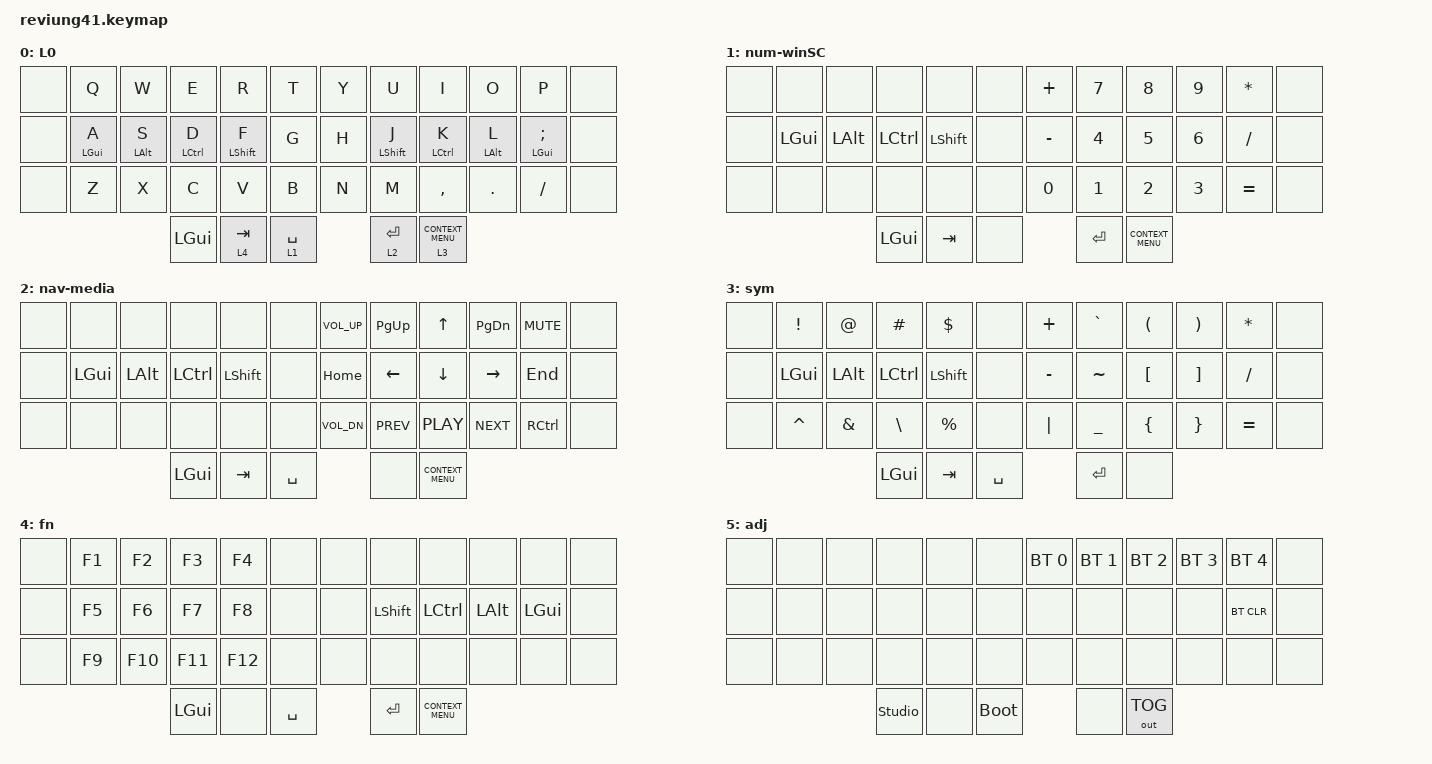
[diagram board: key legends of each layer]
#undef ZMK_BEHAVIORS_KEEP_ALL

#define ZMK_BEHAVIORS_KEEP_SK
#define ZMK_BEHAVIORS_KEEP_MT
#define ZMK_BEHAVIORS_KEEP_KT

#include <behaviors.dtsi>
#include <dt-bindings/zmk/bt.h>
#include <dt-bindings/zmk/keys.h>
#include <dt-bindings/zmk/outputs.h>

&sk {
    quick-release;
    release-after-ms = <600>;
};

/ {
    combos {
        compatible = "zmk,combos";

        shiftSK {
            bindings = <&sk LEFT_SHIFT>;
            key-positions = <37 39>;
            timeout-ms = <40>;
            require-prior-idle-ms = <100>;
            layers = <0>;
        };

        delL {
            bindings = <&kp DELETE>;
            key-positions = <4 3>;
            timeout-ms = <40>;
            require-prior-idle-ms = <100>;
            layers = <0 1 3 2>;
        };

        delR {
            bindings = <&kp DELETE>;
            key-positions = <7 8>;
            timeout-ms = <40>;
            require-prior-idle-ms = <100>;
            layers = <0 1 3 2>;
        };

        BSL {
            bindings = <&kp BACKSPACE>;
            key-positions = <15 16>;
            timeout-ms = <40>;
            require-prior-idle-ms = <100>;
            layers = <0 1 3 2>;
        };

        BSR {
            bindings = <&kp BACKSPACE>;
            key-positions = <19 20>;
            timeout-ms = <40>;
            require-prior-idle-ms = <100>;
            layers = <0 1 3 2>;
        };

        ctrl+BS {
            bindings = <&kp LC(BACKSPACE)>;
            key-positions = <28 27>;
            timeout-ms = <40>;
            require-prior-idle-ms = <100>;
            layers = <0>;
        };

        esc {
            bindings = <&kp ESCAPE>;
            key-positions = <3 2>;
            timeout-ms = <40>;
            require-prior-idle-ms = <100>;
            layers = <0>;
        };

        quote {
            bindings = <&kp SINGLE_QUOTE>;
            key-positions = <8 9>;
            timeout-ms = <40>;
            require-prior-idle-ms = <100>;
            layers = <0>;
        };

        question {
            bindings = <&kp QUESTION>;
            key-positions = <32 33>;
            timeout-ms = <40>;
            require-prior-idle-ms = <100>;
            layers = <0>;
        };

        adj {
            bindings = <&mo 5>;
            key-positions = <1 5>;
            timeout-ms = <200>;
            require-prior-idle-ms = <100>;
            layers = <0>;
        };
    };

    behaviors {
        hmr: hmr {
            compatible = "zmk,behavior-hold-tap";
            #binding-cells = <2>;
            label = "hmr";
            bindings = <&kp>, <&kp>;

            tapping-term-ms = <280>;
            hold-trigger-key-positions = <0 1 2 3 4 5 12 13 14 15 16 17 24 25 26 27 28 29 36 37 38 39 40 41>;
            hold-trigger-on-release;             // delay positional check until key-release
            flavor = "balanced";
            require-prior-idle-ms = <150>;
            require-prior-idle-ms = <150>;
            quick-tap-ms = <175>;
        };

        hml: hml {
            compatible = "zmk,behavior-hold-tap";
            #binding-cells = <2>;
            label = "hml";
            bindings = <&kp>, <&kp>;

            tapping-term-ms = <280>;
            hold-trigger-key-positions = <6 7 8 9 10 11 18 19 20 21 22 23 30 31 32 33 34 35 39 40 41 36 37 38>;
            hold-trigger-on-release;
            flavor = "balanced";
            require-prior-idle-ms = <150>;
            quick-tap-ms = <175>;
        };

        shiftSKShift: shiftSKShift {
            compatible = "zmk,behavior-hold-tap";
            #binding-cells = <2>;
            label = "SHIFTSKSHIFT";
            tapping-term-ms = <50>;
            quick-tap-ms = <(-1)>;
            bindings = <&kp>, <&sk>;

            flavor = "tap-preferred";
        };

        skShift_Molayer: skShift_Molayer {
            compatible = "zmk,behavior-hold-tap";
            #binding-cells = <2>;
            label = "SKSHIFT_MOLAYER";
            tapping-term-ms = <100>;
            quick-tap-ms = <(-1)>;
            retro-tap;
            flavor = "tap-unless-interrupted";
            bindings = <&mo>, <&sk>;
        };

        spaceWinIpad: spaceWinIpad {
            compatible = "zmk,behavior-tap-dance";
            label = "SPACEWINIPAD";
            #binding-cells = <0>;
            bindings = <&lt 1 SPACE>, <&lt 0 SPACE>;
        };
    };

    macros {
        ipadBT: ipadBT {
            compatible = "zmk,behavior-macro";
            #binding-cells = <0>;
            bindings = <&bt BT_SEL 1 &to 0>;
            label = "IPADBT";
        };

        windowsBT: windowsBT {
            compatible = "zmk,behavior-macro";
            #binding-cells = <0>;
            bindings = <&bt BT_SEL 0 &to 0>;
            label = "WINDOWSBT";
        };
    };

    keymap {
        compatible = "zmk,keymap";

        L0 {
            bindings = <
&none  &kp Q            &kp W            &kp E                &kp R              &kp T               &kp Y  &kp U              &kp I                 &kp O            &kp P               &none
&none  &hml LEFT_GUI A  &hml LEFT_ALT S  &hml LEFT_CONTROL D  &hml LEFT_SHIFT F  &kp G               &kp H  &hmr LEFT_SHIFT J  &hmr LEFT_CONTROL K   &hmr LEFT_ALT L  &hmr LEFT_GUI SEMI  &none
&none  &kp Z            &kp X            &kp C                &kp V              &kp B               &kp N  &kp M              &kp COMMA             &kp DOT          &kp FSLH            &none
                                         &kp LGUI             &lt 4 TAB                 &lt 1 SPACE         &lt 2 ENTER        &lt 3 K_CONTEXT_MENU
            >;
        };

        num-winSC {
            bindings = <
&none  &none         &none     &none      &none      &none         &kp PLUS   &kp N7     &kp N8              &kp N9  &kp STAR   &none
&none  &kp LEFT_GUI  &kp LALT  &kp LCTRL  &kp LSHFT  &none         &kp MINUS  &kp N4     &kp N5              &kp N6  &kp SLASH  &none
&none  &none         &none     &none      &none      &none         &kp N0     &kp N1     &kp N2              &kp N3  &kp EQUAL  &none
                               &kp LGUI   &kp TAB           &none             &kp ENTER  &kp K_CONTEXT_MENU
            >;
        };

        nav-media {
            bindings = <
&none  &none         &none     &none      &none      &none             &kp C_VOL_UP  &kp PG_UP   &kp UP              &kp PG_DN   &kp C_MUTE  &none
&none  &kp LEFT_GUI  &kp LALT  &kp LCTRL  &kp LSHFT  &none             &kp HOME      &kp LEFT    &kp DOWN            &kp RIGHT   &kp END     &none
&none  &none         &none     &none      &none      &none             &kp C_VOL_DN  &kp C_PREV  &kp C_PLAY          &kp C_NEXT  &kp RCTRL   &none
                               &kp LGUI   &kp TAB           &kp SPACE                &none       &kp K_CONTEXT_MENU
            >;
        };

        sym {
            bindings = <
&none  &kp EXCL      &kp AT    &kp HASH       &kp DLLR     &none             &kp PLUS   &kp GRAVE  &kp LPAR  &kp RPAR  &kp STAR   &none
&none  &kp LEFT_GUI  &kp LALT  &kp LCTRL      &kp LSHFT    &none             &kp MINUS  &kp TILDE  &kp LBKT  &kp RBKT  &kp SLASH  &none
&none  &kp CARET     &kp AMPS  &kp BACKSLASH  &kp PERCENT  &none             &kp PIPE   &kp UNDER  &kp LBRC  &kp RBRC  &kp EQUAL  &none
                               &kp LGUI       &kp TAB             &kp SPACE             &kp ENTER  &none
            >;
        };

        fn {
            bindings = <
&none  &kp F1  &kp F2   &kp F3    &kp F4   &none             &none  &none      &none               &none     &none         &none
&none  &kp F5  &kp F6   &kp F7    &kp F8   &none             &none  &kp LSHFT  &kp LCTRL           &kp LALT  &kp LEFT_GUI  &none
&none  &kp F9  &kp F10  &kp F11   &kp F12  &none             &none  &none      &none               &none     &none         &none
                        &kp LGUI  &none           &kp SPACE         &kp ENTER  &kp K_CONTEXT_MENU
            >;
        };

        adj {
            bindings = <
&none  &none  &none  &none           &none  &none               &bt BT_SEL 0  &bt BT_SEL 1  &bt BT_SEL 2  &bt BT_SEL 3  &bt BT_SEL 4  &none
&none  &none  &none  &none           &none  &none               &none         &none         &none         &none         &bt BT_CLR    &none
&none  &none  &none  &none           &none  &none               &none         &none         &none         &none         &none         &none
                     &studio_unlock  &none         &bootloader                &none         &out OUT_TOG
            >;
        };
    };
};
